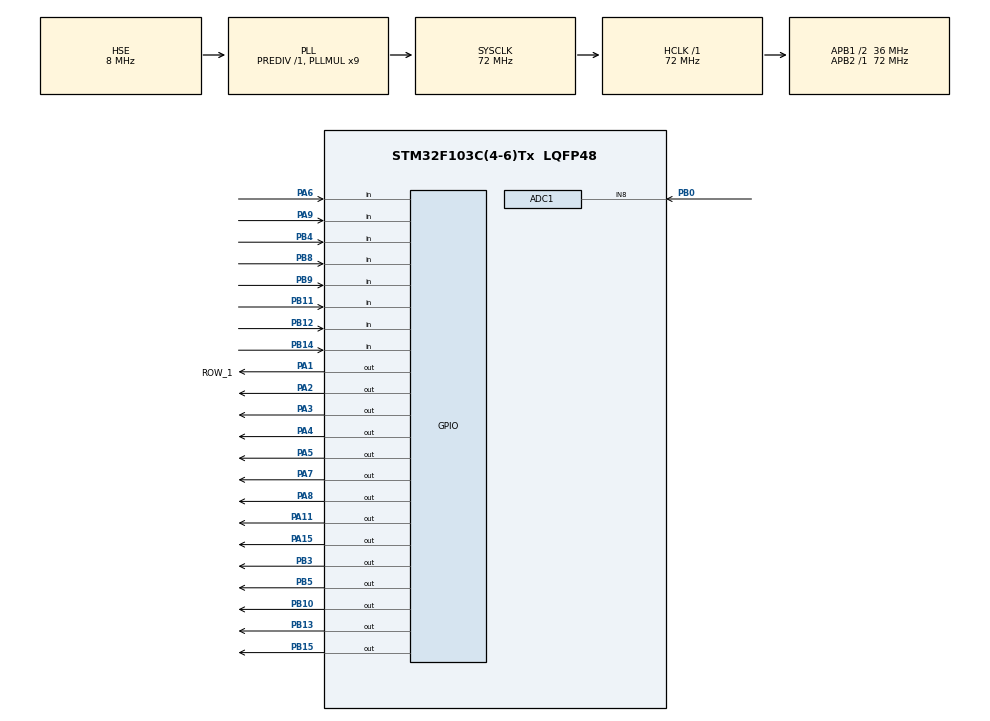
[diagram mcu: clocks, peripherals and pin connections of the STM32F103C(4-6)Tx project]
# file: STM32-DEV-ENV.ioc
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ADC1.Channel-0\#ChannelRegularConversion=ADC_CHANNEL_8
ADC1.NbrOfConversionFlag=1
ADC1.Rank-0\#ChannelRegularConversion=1
ADC1.SamplingTime-0\#ChannelRegularConversion=ADC_SAMPLETIME_1CYCLE_5
ADC1.master=1
Mcu.Family=STM32F1
Mcu.Name=STM32F103C(4-6)Tx
Mcu.Package=LQFP48
NVIC.PriorityGroup=NVIC_PRIORITYGROUP_4
PA1.GPIO_Label=ROW_1
PA1.Signal=GPIO_Output
PA11.Signal=GPIO_Output
PA15.Signal=GPIO_Output
PA2.Signal=GPIO_Output
PA3.Signal=GPIO_Output
PA4.Signal=GPIO_Output
PA5.Signal=GPIO_Output
PA6.Signal=GPIO_Input
PA7.Signal=GPIO_Output
PA8.Signal=GPIO_Output
PA9.GPIO_PuPd=GPIO_PULLUP
PA9.Signal=GPIO_Input
PB0.Signal=ADCx_IN8
PB10.Signal=GPIO_Output
PB11.GPIO_PuPd=GPIO_PULLUP
PB11.Signal=GPIO_Input
PB12.GPIO_PuPd=GPIO_PULLUP
PB12.Signal=GPIO_Input
PB13.Signal=GPIO_Output
PB14.GPIO_PuPd=GPIO_PULLUP
PB14.Signal=GPIO_Input
PB15.Signal=GPIO_Output
PB3.Signal=GPIO_Output
PB4.Signal=GPIO_Input
PB5.Signal=GPIO_Output
PB6.Signal=I2C1_SCL
PB7.Signal=I2C1_SDA
PB8.Signal=GPIO_Input
PB9.Signal=GPIO_Input
PC14-OSC32_IN.Mode=LSE-External-Oscillator
PC14-OSC32_IN.Signal=RCC_OSC32_IN
PC15-OSC32_OUT.Mode=LSE-External-Oscillator
PC15-OSC32_OUT.Signal=RCC_OSC32_OUT
PD0-OSC_IN.Mode=HSE-External-Oscillator
PD0-OSC_IN.Signal=RCC_OSC_IN
PD1-OSC_OUT.Mode=HSE-External-Oscillator
PD1-OSC_OUT.Signal=RCC_OSC_OUT
ProjectManager.HeapSize=0x200
ProjectManager.StackSize=0x400
ProjectManager.TargetToolchain=STM32CubeIDE
RCC.ADCPresc=RCC_ADCPCLK2_DIV6
RCC.AHBFreq_Value=72000000
RCC.APB1CLKDivider=RCC_HCLK_DIV2
RCC.APB1Freq_Value=36000000
RCC.APB1TimFreq_Value=72000000
RCC.APB2Freq_Value=72000000
RCC.APB2TimFreq_Value=72000000
RCC.HCLKFreq_Value=72000000
RCC.PLLMUL=RCC_PLL_MUL9
RCC.PLLSourceVirtual=RCC_PLLSOURCE_HSE
RCC.RTCClockSelection=RCC_RTCCLKSOURCE_LSE
RCC.SYSCLKFreq_VALUE=72000000
RCC.SYSCLKSource=RCC_SYSCLKSOURCE_PLLCLK
RCC.USBFreq_Value=72000000
SH.ADCx_IN8.0=ADC1_IN8,IN8
VP_RTC_VS_RTC_Activate.Mode=RTC_Enabled
VP_RTC_VS_RTC_Calendar.Mode=RTC_Calendar
VP_SYS_VS_ND.Mode=No_Debug
board=custom

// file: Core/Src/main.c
/* USER CODE BEGIN Header */
/**
  ******************************************************************************
  * @file           : main.c
  * @brief          : Main program body
  ******************************************************************************
  * @attention
  *
  * Copyright (c) 2025 STMicroelectronics.
  * All rights reserved.
  *
  * This software is licensed under terms that can be found in the LICENSE file
  * in the root directory of this software component.
  * If no LICENSE file comes with this software, it is provided AS-IS.
  *
  ******************************************************************************
  */
/* USER CODE END Header */
#include "main.h"

/* USER CODE BEGIN Includes */
#include <stdio.h>
#include "LCD_NC.h"
#include "CLOCK.h"
#include "KEYPAD.h"
/* USER CODE END Includes */

ADC_HandleTypeDef hadc1;

RTC_HandleTypeDef hrtc;

/* USER CODE BEGIN PV */
char string_buffer[30];
Clock_Status_t status_buffer;

/* USER CODE END PV */

void SystemClock_Config(void);
static void MX_GPIO_Init(void);
static void MX_ADC1_Init(void);
static void MX_RTC_Init(void);

int main(void)
{

  /* MCU Configuration--------------------------------------------------------*/

  /* Reset of all peripherals, Initializes the Flash interface and the Systick. */
  HAL_Init();

  /* Configure the system clock */
  SystemClock_Config();

  /* Initialize all configured peripherals */
  MX_GPIO_Init();
  MX_ADC1_Init();
  MX_RTC_Init();
  /* USER CODE BEGIN 2 */
  lcd_init();
  clock_init(&hrtc);

  /* USER CODE END 2 */

  /* Infinite loop */
  /* USER CODE BEGIN WHILE */
  while (1)
  {
	  HAL_Delay(1); //STABILITY

	  //CLOCK FUNC TEST
//	  lcd_put_cur(0, 0);
//	  sprintf(string_buffer, " Fecha :%02d/%02d/%02d", datetime.date, datetime.month, datetime.year);
//	  lcd_send_string(string_buffer);
//
//	  lcd_put_cur(1, 0);
//	  sprintf(string_buffer, " Hora :%02u/%02u/%02u", datetime.hours, datetime.minutes, datetime.seconds);
//	  lcd_send_string(string_buffer);
//
//	  clock_update_datetime();

	  //CLOCK ERROR TEST

	  status_buffer = clock_set_date(20, 2, 25);
	  lcd_put_cur(0, 0);
	  if (status_buffer != CLOCK_OK){
		  sprintf(string_buffer, "Fecha Invalida cod:%2d", status_buffer);
		  lcd_send_string(string_buffer);
	  } else {
		  lcd_send_string("Fecha Valida");
	  }

	  HAL_Delay(5);

	  status_buffer = clock_set_date(32, 2, 25);
	  lcd_put_cur(0, 0);
	  if (status_buffer != CLOCK_OK){
		  sprintf(string_buffer, "Fecha Invalida cod:%2d", status_buffer);
		  lcd_send_string(string_buffer);
	  } else {
		  lcd_send_string("Fecha Valida");
	  }

	  HAL_Delay(5);

	  status_buffer = clock_set_time(20, 2, 25);
	  lcd_put_cur(0, 0);
	  if (status_buffer != CLOCK_OK){
		  sprintf(string_buffer, "Tiempo invalido cod:%2d", status_buffer);
		  lcd_send_string(string_buffer);
	  } else {
		  lcd_send_string("Tiempo Valido");
	  }

	  HAL_Delay(5);

	  status_buffer = clock_set_time(24, 2, 25);
	  lcd_put_cur(0, 0);
	  if (status_buffer != CLOCK_OK){
		  sprintf(string_buffer, "Tiempo invalido cod:%2d", status_buffer);
		  lcd_send_string(string_buffer);
	  } else {
		  lcd_send_string("Tiempo Valido");
	  }

	  //KEYPAD FUNC TEST

//	  uint8_t key = keypad_read();
//	  if(key){
//		  lcd_put_cur(0, 0);
//		  sprintf(string_buffer, "%2d", key);
//		  lcd_send_string(string_buffer);
//	  }

	  /* USER CODE END WHILE */

  }
}

void SystemClock_Config(void)
{
  RCC_OscInitTypeDef RCC_OscInitStruct = {0};
  RCC_ClkInitTypeDef RCC_ClkInitStruct = {0};
  RCC_PeriphCLKInitTypeDef PeriphClkInit = {0};

  /** Initializes the RCC Oscillators according to the specified parameters
  * in the RCC_OscInitTypeDef structure.
  */
  RCC_OscInitStruct.OscillatorType = RCC_OSCILLATORTYPE_HSE|RCC_OSCILLATORTYPE_LSE;
  RCC_OscInitStruct.HSEState = RCC_HSE_ON;
  RCC_OscInitStruct.HSEPredivValue = RCC_HSE_PREDIV_DIV1;
  RCC_OscInitStruct.LSEState = RCC_LSE_ON;
  RCC_OscInitStruct.HSIState = RCC_HSI_ON;
  RCC_OscInitStruct.PLL.PLLState = RCC_PLL_ON;
  RCC_OscInitStruct.PLL.PLLSource = RCC_PLLSOURCE_HSE;
  RCC_OscInitStruct.PLL.PLLMUL = RCC_PLL_MUL9;
  if (HAL_RCC_OscConfig(&RCC_OscInitStruct) != HAL_OK)
  {
    Error_Handler();
  }

  /** Initializes the CPU, AHB and APB buses clocks
  */
  RCC_ClkInitStruct.ClockType = RCC_CLOCKTYPE_HCLK|RCC_CLOCKTYPE_SYSCLK
                              |RCC_CLOCKTYPE_PCLK1|RCC_CLOCKTYPE_PCLK2;
  RCC_ClkInitStruct.SYSCLKSource = RCC_SYSCLKSOURCE_PLLCLK;
  RCC_ClkInitStruct.AHBCLKDivider = RCC_SYSCLK_DIV1;
  RCC_ClkInitStruct.APB1CLKDivider = RCC_HCLK_DIV2;
  RCC_ClkInitStruct.APB2CLKDivider = RCC_HCLK_DIV1;

  if (HAL_RCC_ClockConfig(&RCC_ClkInitStruct, FLASH_LATENCY_2) != HAL_OK)
  {
    Error_Handler();
  }
  PeriphClkInit.PeriphClockSelection = RCC_PERIPHCLK_RTC|RCC_PERIPHCLK_ADC;
  PeriphClkInit.RTCClockSelection = RCC_RTCCLKSOURCE_LSE;
  PeriphClkInit.AdcClockSelection = RCC_ADCPCLK2_DIV6;
  if (HAL_RCCEx_PeriphCLKConfig(&PeriphClkInit) != HAL_OK)
  {
    Error_Handler();
  }
}

static void MX_ADC1_Init(void)
{

  ADC_ChannelConfTypeDef sConfig = {0};

  /** Common config
  */
  hadc1.Instance = ADC1;
  hadc1.Init.ScanConvMode = ADC_SCAN_DISABLE;
  hadc1.Init.ContinuousConvMode = DISABLE;
  hadc1.Init.DiscontinuousConvMode = DISABLE;
  hadc1.Init.ExternalTrigConv = ADC_SOFTWARE_START;
  hadc1.Init.DataAlign = ADC_DATAALIGN_RIGHT;
  hadc1.Init.NbrOfConversion = 1;
  if (HAL_ADC_Init(&hadc1) != HAL_OK)
  {
    Error_Handler();
  }

  /** Configure Regular Channel
  */
  sConfig.Channel = ADC_CHANNEL_8;
  sConfig.Rank = ADC_REGULAR_RANK_1;
  sConfig.SamplingTime = ADC_SAMPLETIME_1CYCLE_5;
  if (HAL_ADC_ConfigChannel(&hadc1, &sConfig) != HAL_OK)
  {
    Error_Handler();
  }

}

static void MX_RTC_Init(void)
{

  RTC_TimeTypeDef sTime = {0};
  RTC_DateTypeDef DateToUpdate = {0};

  /** Initialize RTC Only
  */
  hrtc.Instance = RTC;
  hrtc.Init.AsynchPrediv = RTC_AUTO_1_SECOND;
  hrtc.Init.OutPut = RTC_OUTPUTSOURCE_ALARM;
  if (HAL_RTC_Init(&hrtc) != HAL_OK)
  {
    Error_Handler();
  }

  /** Initialize RTC and set the Time and Date
  */
  sTime.Hours = 0x0;
  sTime.Minutes = 0x0;
  sTime.Seconds = 0x0;

  if (HAL_RTC_SetTime(&hrtc, &sTime, RTC_FORMAT_BCD) != HAL_OK)
  {
    Error_Handler();
  }
  DateToUpdate.WeekDay = RTC_WEEKDAY_MONDAY;
  DateToUpdate.Month = RTC_MONTH_JANUARY;
  DateToUpdate.Date = 0x1;
  DateToUpdate.Year = 0x0;

  if (HAL_RTC_SetDate(&hrtc, &DateToUpdate, RTC_FORMAT_BCD) != HAL_OK)
  {
    Error_Handler();
  }

}

static void MX_GPIO_Init(void)
{
  GPIO_InitTypeDef GPIO_InitStruct = {0};

  /* GPIO Ports Clock Enable */
  __HAL_RCC_GPIOC_CLK_ENABLE();
  __HAL_RCC_GPIOD_CLK_ENABLE();
  __HAL_RCC_GPIOA_CLK_ENABLE();
  __HAL_RCC_GPIOB_CLK_ENABLE();

  /*Configure GPIO pin Output Level */
  HAL_GPIO_WritePin(GPIOA, ROW_1_Pin|GPIO_PIN_2|GPIO_PIN_3|GPIO_PIN_4
                          |GPIO_PIN_5|GPIO_PIN_7|GPIO_PIN_8|GPIO_PIN_11
                          |GPIO_PIN_15, GPIO_PIN_RESET);

  /*Configure GPIO pin Output Level */
  HAL_GPIO_WritePin(GPIOB, GPIO_PIN_10|GPIO_PIN_13|GPIO_PIN_15|GPIO_PIN_3
                          |GPIO_PIN_5, GPIO_PIN_RESET);

  /*Configure GPIO pins : ROW_1_Pin PA2 PA3 PA4
                           PA5 PA7 PA8 PA11
                           PA15 */
  GPIO_InitStruct.Pin = ROW_1_Pin|GPIO_PIN_2|GPIO_PIN_3|GPIO_PIN_4
                          |GPIO_PIN_5|GPIO_PIN_7|GPIO_PIN_8|GPIO_PIN_11
                          |GPIO_PIN_15;
  GPIO_InitStruct.Mode = GPIO_MODE_OUTPUT_PP;
  GPIO_InitStruct.Pull = GPIO_NOPULL;
  GPIO_InitStruct.Speed = GPIO_SPEED_FREQ_LOW;
  HAL_GPIO_Init(GPIOA, &GPIO_InitStruct);

  /*Configure GPIO pin : PA6 */
  GPIO_InitStruct.Pin = GPIO_PIN_6;
  GPIO_InitStruct.Mode = GPIO_MODE_INPUT;
  GPIO_InitStruct.Pull = GPIO_PULLDOWN;
  HAL_GPIO_Init(GPIOA, &GPIO_InitStruct);

  /*Configure GPIO pins : PB10 PB13 PB15 PB3
                           PB5 */
  GPIO_InitStruct.Pin = GPIO_PIN_10|GPIO_PIN_13|GPIO_PIN_15|GPIO_PIN_3
                          |GPIO_PIN_5;
  GPIO_InitStruct.Mode = GPIO_MODE_OUTPUT_PP;
  GPIO_InitStruct.Pull = GPIO_NOPULL;
  GPIO_InitStruct.Speed = GPIO_SPEED_FREQ_LOW;
  HAL_GPIO_Init(GPIOB, &GPIO_InitStruct);

  /*Configure GPIO pins : PB11 PB12 PB14 */
  GPIO_InitStruct.Pin = GPIO_PIN_11|GPIO_PIN_12|GPIO_PIN_14;
  GPIO_InitStruct.Mode = GPIO_MODE_INPUT;
  GPIO_InitStruct.Pull = GPIO_PULLUP;
  HAL_GPIO_Init(GPIOB, &GPIO_InitStruct);

  /*Configure GPIO pin : PA9 */
  GPIO_InitStruct.Pin = GPIO_PIN_9;
  GPIO_InitStruct.Mode = GPIO_MODE_INPUT;
  GPIO_InitStruct.Pull = GPIO_PULLUP;
  HAL_GPIO_Init(GPIOA, &GPIO_InitStruct);

  /*Configure GPIO pins : PB4 PB8 PB9 */
  GPIO_InitStruct.Pin = GPIO_PIN_4|GPIO_PIN_8|GPIO_PIN_9;
  GPIO_InitStruct.Mode = GPIO_MODE_INPUT;
  GPIO_InitStruct.Pull = GPIO_PULLDOWN;
  HAL_GPIO_Init(GPIOB, &GPIO_InitStruct);

  /*Configure GPIO pins : PB6 PB7 */
  GPIO_InitStruct.Pin = GPIO_PIN_6|GPIO_PIN_7;
  GPIO_InitStruct.Mode = GPIO_MODE_AF_OD;
  GPIO_InitStruct.Pull = GPIO_NOPULL;
  GPIO_InitStruct.Speed = GPIO_SPEED_FREQ_HIGH;
  HAL_GPIO_Init(GPIOB, &GPIO_InitStruct);

}

extern void Error_Handler(void)
{
  __disable_irq();
  while (1)
  {
  }
}
